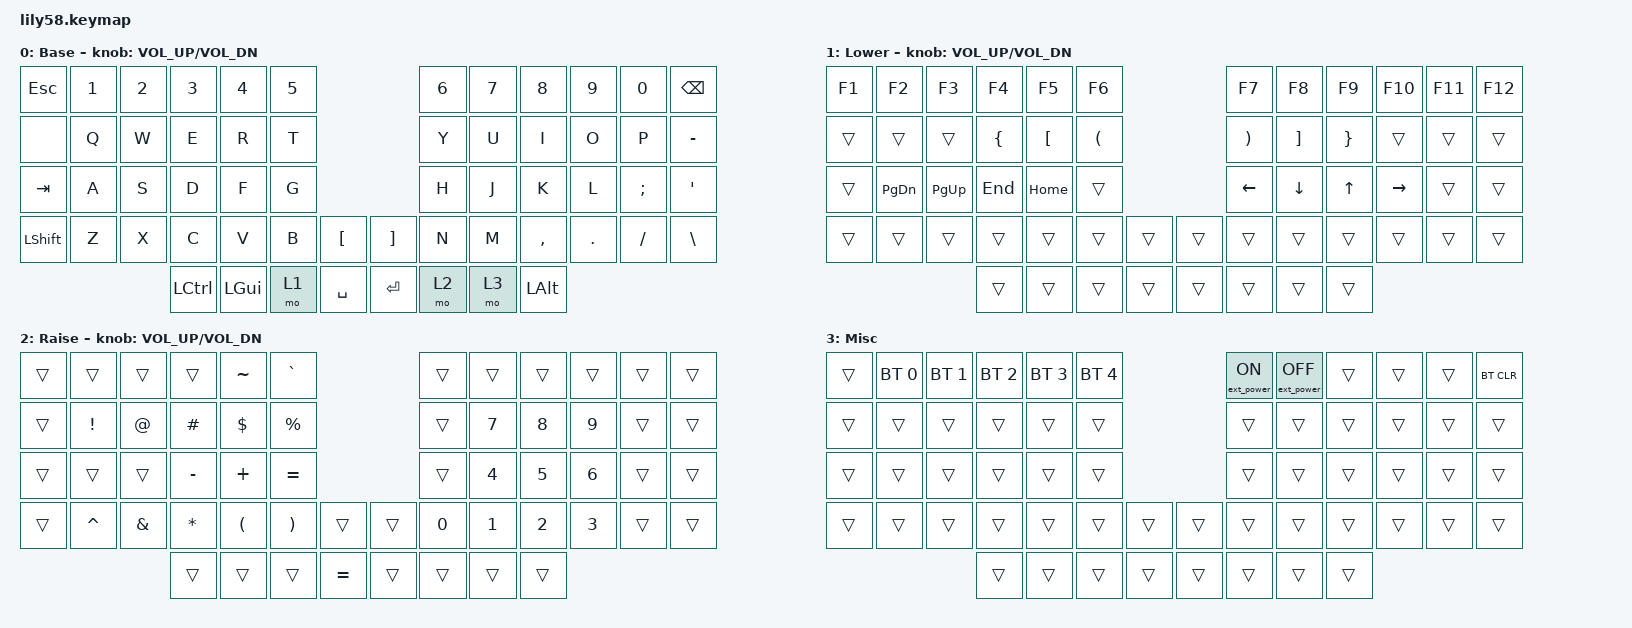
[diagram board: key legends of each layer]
/*
 * Copyright (c) 2020 The ZMK Contributors
 *
 * SPDX-License-Identifier: MIT
 */

#include <behaviors.dtsi>
#include <dt-bindings/zmk/bt.h>
#include <dt-bindings/zmk/ext_power.h>
#include <dt-bindings/zmk/keys.h>

/ {
    keymap {
        compatible = "zmk,keymap";

        default_layer {
            // ------------------------------------------------------------------------------------------------------------
            // |  ESC  |  1  |  2  |  3   |  4   |  5   |                   |  6   |  7    |  8    |  9   |   0   |   `   |
            // |  TAB  |  Q  |  W  |  E   |  R   |  T   |                   |  Y   |  U    |  I    |  O   |   P   |   -   |
            // |  CTRL |  A  |  S  |  D   |  F   |  G   |                   |  H   |  J    |  K    |  L   |   ;   |   '   |
            // | SHIFT |  Z  |  X  |  C   |  V   |  B   |   "["  |  |  "]"  |  N   |  M    |  ,    |  .   |   /   | SHIFT |
            //                     | ALT  | GUI  | LOWER|  SPACE |  | ENTER | RAISE| BSPC  | GUI   |

            label = "Base";
            bindings = <
&kp ESCAPE      &kp N1  &kp N2  &kp N3     &kp N4    &kp N5                         &kp N6  &kp N7  &kp N8        &kp N9   &kp N0    &kp BACKSPACE
&none           &kp Q   &kp W   &kp E      &kp R     &kp T                          &kp Y   &kp U   &kp I         &kp O    &kp P     &kp MINUS
&kp TAB         &kp A   &kp S   &kp D      &kp F     &kp G                          &kp H   &kp J   &kp K         &kp L    &kp SEMI  &kp SQT
&kp LEFT_SHIFT  &kp Z   &kp X   &kp C      &kp V     &kp B   &kp LBKT     &kp RBKT  &kp N   &kp M   &kp COMMA     &kp DOT  &kp FSLH  &kp BACKSLASH
                                &kp LCTRL  &kp LGUI  &mo 1   &kp SPACE    &kp RET   &mo 2   &mo 3   &kp LEFT_ALT
            >;

            sensor-bindings = <&inc_dec_kp C_VOL_UP C_VOL_DN>;
        };

        lower_layer {
            // ------------------------------------------------------------------------------------------------------------
            // | BTCLR | BT1 | BT2 |  BT3 |  BT4 |  BT5 |                   |      |       |       |      |       |       |
            // |  F1   |  F2 |  F3 |  F4  |  F5  |  F6  |                   |  F7  |  F8   |  F9   |  F10 |  F11  |  F12  |
            // |   `   |  !  |  @  |  #   |  $   |  %   |                   |  ^   |  &    |  *    |  (   |   )   |   ~   |
            // |       |     |     |      |      |      |        |  |       |      |  _    |  +    |  {   |   }   |  "|"  |
            //                     |      |      |      |        |  |       |      |       |       |

            label = "Lower";
            bindings = <
&kp F1  &kp F2         &kp F3       &kp F4          &kp F5            &kp F6                                  &kp F7                 &kp F8             &kp F9           &kp F10    &kp F11  &kp F12
&trans  &trans         &trans       &kp LEFT_BRACE  &kp LEFT_BRACKET  &kp LEFT_PARENTHESIS                    &kp RIGHT_PARENTHESIS  &kp RIGHT_BRACKET  &kp RIGHT_BRACE  &trans     &trans   &trans
&trans  &kp PAGE_DOWN  &kp PAGE_UP  &kp END         &kp HOME          &trans                                  &kp LEFT               &kp DOWN           &kp UP_ARROW     &kp RIGHT  &trans   &trans
&trans  &trans         &trans       &trans          &trans            &trans                &trans    &trans  &trans                 &trans             &trans           &trans     &trans   &trans
                                    &trans          &trans            &trans                &trans    &trans  &trans                 &trans             &trans
            >;

            sensor-bindings = <&inc_dec_kp C_VOL_UP C_VOL_DN>;
        };

        raise_layer {
            // ------------------------------------------------------------------------------------------------------------
            // |       |     |     |      |      |      |                   |      |       |       |      |       |       |
            // |   `   |  1  |  2  |  3   |  4   |  5   |                   |  6   |   7   |   8   |  9   |   0   |       |
            // |   F1  |  F2 |  F3 |  F4  |  F5  |  F6  |                   |      |   <-  |   v   |  ^   |  ->   |       |
            // |   F7  |  F8 |  F9 |  F10 |  F11 |  F12 |        |  |       |  +   |   -   |   =   |  [   |   ]   |   \   |
            //                     |      |      |      |        |  |       |      |       |       |

            label = "Raise";
            bindings = <
&trans  &trans           &trans         &trans     &kp TILDE             &kp GRAVE                                   &trans  &trans  &trans  &trans  &trans  &trans
&trans  &kp EXCLAMATION  &kp AT_SIGN    &kp HASH   &kp DOLLAR            &kp PERCENT                                 &trans  &kp N7  &kp N8  &kp N9  &trans  &trans
&trans  &trans           &trans         &kp MINUS  &kp PLUS              &kp EQUAL                                   &trans  &kp N4  &kp N5  &kp N6  &trans  &trans
&trans  &kp CARET        &kp AMPERSAND  &kp STAR   &kp LEFT_PARENTHESIS  &kp RIGHT_PARENTHESIS  &trans       &trans  &kp N0  &kp N1  &kp N2  &kp N3  &trans  &trans
                                        &trans     &trans                &trans                 &kp EQUAL    &trans  &trans  &trans  &trans
            >;

            sensor-bindings = <&inc_dec_kp C_VOL_UP C_VOL_DN>;
        };

        Misc {
            bindings = <
&trans  &bt BT_SEL 0  &bt BT_SEL 1  &bt BT_SEL 2  &bt BT_SEL 3  &bt BT_SEL 4                    &ext_power EP_ON  &ext_power EP_OFF  &trans  &trans  &trans  &bt BT_CLR
&trans  &trans        &trans        &trans        &trans        &trans                          &trans            &trans             &trans  &trans  &trans  &trans
&trans  &trans        &trans        &trans        &trans        &trans                          &trans            &trans             &trans  &trans  &trans  &trans
&trans  &trans        &trans        &trans        &trans        &trans        &trans    &trans  &trans            &trans             &trans  &trans  &trans  &trans
                                    &trans        &trans        &trans        &trans    &trans  &trans            &trans             &trans
            >;
        };
    };
};
